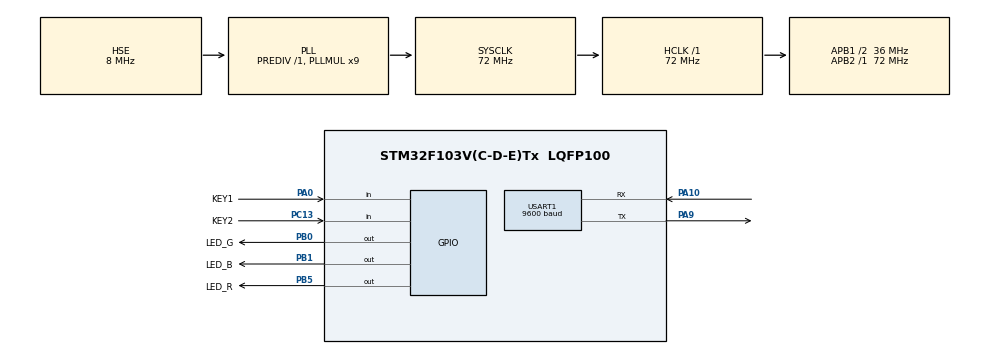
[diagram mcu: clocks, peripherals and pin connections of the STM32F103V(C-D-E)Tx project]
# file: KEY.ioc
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Mcu.Family=STM32F1
Mcu.Name=STM32F103V(C-D-E)Tx
Mcu.Package=LQFP100
NVIC.PriorityGroup=NVIC_PRIORITYGROUP_4
OSC_IN.Mode=HSE-External-Oscillator
OSC_IN.Signal=RCC_OSC_IN
OSC_OUT.Mode=HSE-External-Oscillator
OSC_OUT.Signal=RCC_OSC_OUT
PA0-WKUP.GPIO_Label=KEY1
PA0-WKUP.GPIO_PuPd=GPIO_PULLUP
PA0-WKUP.Signal=GPIO_Input
PA10.GPIO_PuPd=GPIO_PULLUP
PA10.Mode=Asynchronous
PA10.Signal=USART1_RX
PA13.Mode=Serial_Wire
PA13.Signal=SYS_JTMS-SWDIO
PA14.Mode=Serial_Wire
PA14.Signal=SYS_JTCK-SWCLK
PA9.Mode=Asynchronous
PA9.Signal=USART1_TX
PB0.GPIO_Label=LED_G
PB0.GPIO_PuPd=GPIO_PULLUP
PB0.GPIO_Speed=GPIO_SPEED_FREQ_MEDIUM
PB0.Signal=GPIO_Output
PB1.GPIO_Label=LED_B
PB1.GPIO_PuPd=GPIO_PULLUP
PB1.Signal=GPIO_Output
PB5.GPIO_Label=LED_R
PB5.GPIO_PuPd=GPIO_PULLUP
PB5.Signal=GPIO_Output
PC13-TAMPER-RTC.GPIO_Label=KEY2
PC13-TAMPER-RTC.GPIO_PuPd=GPIO_PULLUP
PC13-TAMPER-RTC.Signal=GPIO_Input
ProjectManager.HeapSize=0x200
ProjectManager.StackSize=0x400
ProjectManager.TargetToolchain=MDK-ARM V5
RCC.AHBFreq_Value=72000000
RCC.APB1CLKDivider=RCC_HCLK_DIV2
RCC.APB1Freq_Value=36000000
RCC.APB1TimFreq_Value=72000000
RCC.APB2Freq_Value=72000000
RCC.APB2TimFreq_Value=72000000
RCC.HCLKFreq_Value=72000000
RCC.PLLMUL=RCC_PLL_MUL9
RCC.PLLSourceVirtual=RCC_PLLSOURCE_HSE
RCC.SYSCLKFreq_VALUE=72000000
RCC.SYSCLKSource=RCC_SYSCLKSOURCE_PLLCLK
RCC.USBFreq_Value=72000000
USART1.BaudRate=9600
USART1.VirtualMode=VM_ASYNC
board=custom

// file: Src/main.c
/**
  ******************************************************************************
  * @file           : main.c
  * @brief          : Main program body
  ******************************************************************************
  ** This notice applies to any and all portions of this file
  * that are not between comment pairs USER CODE BEGIN and
  * USER CODE END. Other portions of this file, whether
  * inserted by the user or by software development tools
  * are owned by their respective copyright owners.
  *
  * COPYRIGHT(c) 2019 STMicroelectronics
  *
  * Redistribution and use in source and binary forms, with or without modification,
  * are permitted provided that the following conditions are met:
  *   1. Redistributions of source code must retain the above copyright notice,
  *      this list of conditions and the following disclaimer.
  *   2. Redistributions in binary form must reproduce the above copyright notice,
  *      this list of conditions and the following disclaimer in the documentation
  *      and/or other materials provided with the distribution.
  *   3. Neither the name of STMicroelectronics nor the names of its contributors
  *      may be used to endorse or promote products derived from this software
  *      without specific prior written permission.
  *
  * THIS SOFTWARE IS PROVIDED BY THE COPYRIGHT HOLDERS AND CONTRIBUTORS "AS IS"
  * AND ANY EXPRESS OR IMPLIED WARRANTIES, INCLUDING, BUT NOT LIMITED TO, THE
  * IMPLIED WARRANTIES OF MERCHANTABILITY AND FITNESS FOR A PARTICULAR PURPOSE ARE
  * DISCLAIMED. IN NO EVENT SHALL THE COPYRIGHT HOLDER OR CONTRIBUTORS BE LIABLE
  * FOR ANY DIRECT, INDIRECT, INCIDENTAL, SPECIAL, EXEMPLARY, OR CONSEQUENTIAL
  * DAMAGES (INCLUDING, BUT NOT LIMITED TO, PROCUREMENT OF SUBSTITUTE GOODS OR
  * SERVICES; LOSS OF USE, DATA, OR PROFITS; OR BUSINESS INTERRUPTION) HOWEVER
  * CAUSED AND ON ANY THEORY OF LIABILITY, WHETHER IN CONTRACT, STRICT LIABILITY,
  * OR TORT (INCLUDING NEGLIGENCE OR OTHERWISE) ARISING IN ANY WAY OUT OF THE USE
  * OF THIS SOFTWARE, EVEN IF ADVISED OF THE POSSIBILITY OF SUCH DAMAGE.
  *
  ******************************************************************************
  */
#include "main.h"
#include "stm32f1xx_hal.h"
#include "usart.h"
#include "gpio.h"

/* USER CODE BEGIN Includes */
#include "delay.h"

/* USER CODE END Includes */

/* USER CODE BEGIN PV */
/* Private variables ---------------------------------------------------------*/

/* USER CODE END PV */

void SystemClock_Config(void);

/* USER CODE BEGIN PFP */
/* Private function prototypes -----------------------------------------------*/

/* USER CODE END PFP */

int main(void)
{

  /* MCU Configuration----------------------------------------------------------*/

  /* Reset of all peripherals, Initializes the Flash interface and the Systick. */
  HAL_Init();

  /* Configure the system clock */
  SystemClock_Config();

  /* Initialize all configured peripherals */
  MX_GPIO_Init();
  MX_USART1_UART_Init();
  /* USER CODE BEGIN 2 */
	LED_B = 1;
	LED_R = 1;
	LED_G = 1;
  /* USER CODE END 2 */

  /* Infinite loop */
  /* USER CODE BEGIN WHILE */
  while (1)
  {
	// 默认LED 低电平亮  KEY按下是高电平
	//按键按下
	if(KEY1 == 1)
	{
		delay_ms(50);
		//真的按下
		if(KEY1 == 1)
		{
			LED_R = !LED_R;
			while(KEY1 == 1);
		}
	}
	if(KEY2 == 1)
	{
		delay_ms(50);
		//真的按下
		if(KEY2 == 1 && KEY1 == 1)
		{
			LED_G = !LED_G;
			while(KEY2 == 1 && KEY1 == 1);
		}
		if(KEY2 == 1)
		{
			LED_B = !LED_B;
			while(KEY2 == 1);
		}
	}

	/*
	//按键按下
	if(HAL_GPIO_ReadPin(KEY1_GPIO_Port,KEY_Pin) == 1)
	{
		delay_ms(10);
		//真的按下
		if(HAL_GPIO_ReadPin(KEY1_GPIO_Port,KEY_Pin) == 1)
		{
			HAL_GPIO_TogglePin(LED_R_GPIO_Port,LED_Pin);
			while(HAL_GPIO_ReadPin(KEY1_GPIO_Port,KEY_Pin) == 1)
		}
	}*/

  /* USER CODE END WHILE */

  }

}

void SystemClock_Config(void)
{

  RCC_OscInitTypeDef RCC_OscInitStruct;
  RCC_ClkInitTypeDef RCC_ClkInitStruct;

    /**Initializes the CPU, AHB and APB busses clocks
    */
  RCC_OscInitStruct.OscillatorType = RCC_OSCILLATORTYPE_HSE;
  RCC_OscInitStruct.HSEState = RCC_HSE_ON;
  RCC_OscInitStruct.HSEPredivValue = RCC_HSE_PREDIV_DIV1;
  RCC_OscInitStruct.HSIState = RCC_HSI_ON;
  RCC_OscInitStruct.PLL.PLLState = RCC_PLL_ON;
  RCC_OscInitStruct.PLL.PLLSource = RCC_PLLSOURCE_HSE;
  RCC_OscInitStruct.PLL.PLLMUL = RCC_PLL_MUL9;
  if (HAL_RCC_OscConfig(&RCC_OscInitStruct) != HAL_OK)
  {
    _Error_Handler(__FILE__, __LINE__);
  }

    /**Initializes the CPU, AHB and APB busses clocks
    */
  RCC_ClkInitStruct.ClockType = RCC_CLOCKTYPE_HCLK|RCC_CLOCKTYPE_SYSCLK
                              |RCC_CLOCKTYPE_PCLK1|RCC_CLOCKTYPE_PCLK2;
  RCC_ClkInitStruct.SYSCLKSource = RCC_SYSCLKSOURCE_PLLCLK;
  RCC_ClkInitStruct.AHBCLKDivider = RCC_SYSCLK_DIV1;
  RCC_ClkInitStruct.APB1CLKDivider = RCC_HCLK_DIV2;
  RCC_ClkInitStruct.APB2CLKDivider = RCC_HCLK_DIV1;

  if (HAL_RCC_ClockConfig(&RCC_ClkInitStruct, FLASH_LATENCY_2) != HAL_OK)
  {
    _Error_Handler(__FILE__, __LINE__);
  }

    /**Configure the Systick interrupt time
    */
  HAL_SYSTICK_Config(HAL_RCC_GetHCLKFreq()/1000);

    /**Configure the Systick
    */
  HAL_SYSTICK_CLKSourceConfig(SYSTICK_CLKSOURCE_HCLK);

  /* SysTick_IRQn interrupt configuration */
  HAL_NVIC_SetPriority(SysTick_IRQn, 0, 0);
}

void _Error_Handler(char *file, int line)
{
  while(1)
  {
  }
}

/************************ (C) COPYRIGHT STMicroelectronics *****END OF FILE****/
